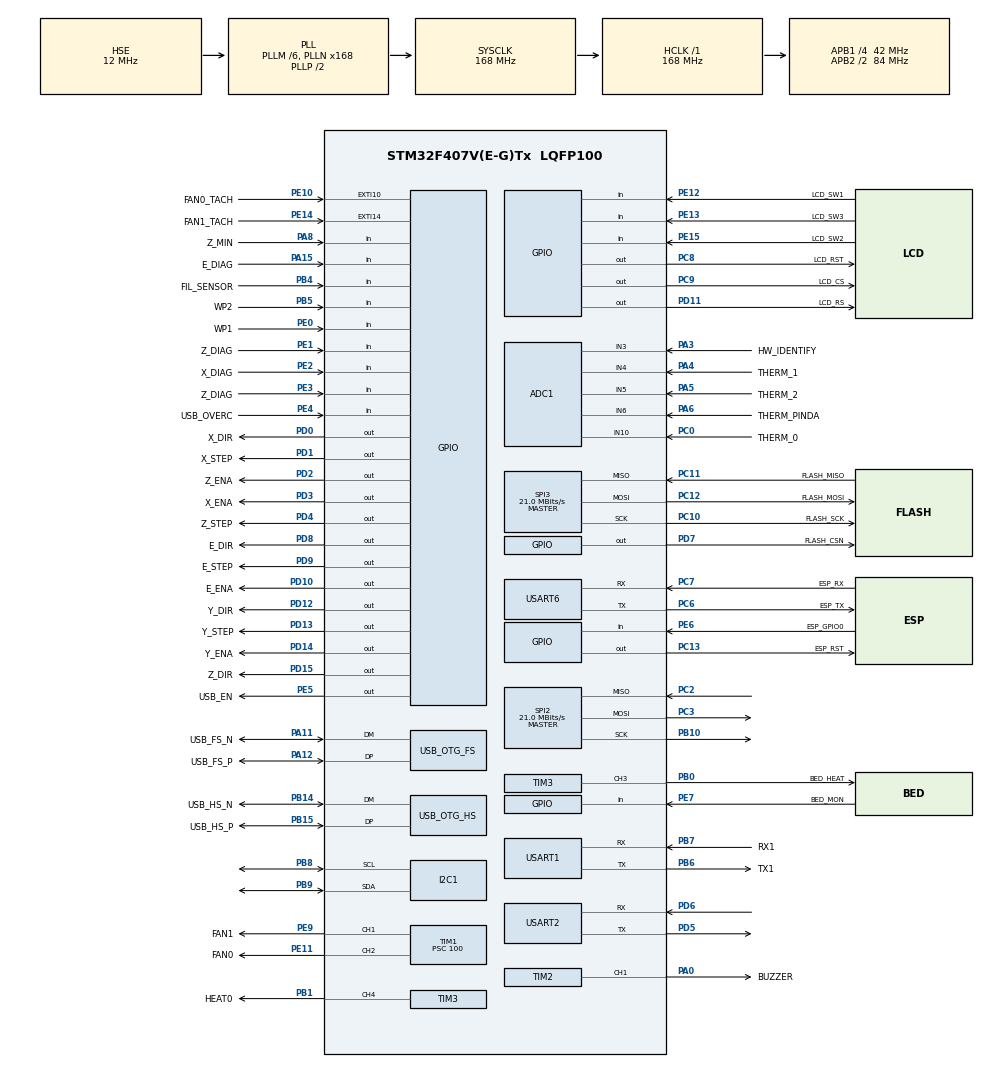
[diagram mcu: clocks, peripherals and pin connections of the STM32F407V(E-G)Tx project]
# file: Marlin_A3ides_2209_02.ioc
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ADC1.Channel-0\#ChannelRegularConversion=ADC_CHANNEL_4
ADC1.NbrOfConversionFlag=1
ADC1.Rank-0\#ChannelRegularConversion=1
ADC1.SamplingTime-0\#ChannelRegularConversion=ADC_SAMPLETIME_3CYCLES
ADC1.master=1
Dma.Request0=SPI2_TX
Dma.Request1=USART2_RX
Dma.Request2=USART6_RX
Dma.SPI2_TX.0.Direction=DMA_MEMORY_TO_PERIPH
Dma.SPI2_TX.0.FIFOMode=DMA_FIFOMODE_DISABLE
Dma.SPI2_TX.0.Instance=DMA1_Stream4
Dma.SPI2_TX.0.MemDataAlignment=DMA_MDATAALIGN_BYTE
Dma.SPI2_TX.0.MemInc=DMA_MINC_ENABLE
Dma.SPI2_TX.0.Mode=DMA_NORMAL
Dma.SPI2_TX.0.PeriphDataAlignment=DMA_PDATAALIGN_BYTE
Dma.SPI2_TX.0.PeriphInc=DMA_PINC_DISABLE
Dma.SPI2_TX.0.Priority=DMA_PRIORITY_MEDIUM
Dma.USART2_RX.1.Direction=DMA_PERIPH_TO_MEMORY
Dma.USART2_RX.1.FIFOMode=DMA_FIFOMODE_DISABLE
Dma.USART2_RX.1.Instance=DMA1_Stream5
Dma.USART2_RX.1.MemDataAlignment=DMA_MDATAALIGN_BYTE
Dma.USART2_RX.1.MemInc=DMA_MINC_ENABLE
Dma.USART2_RX.1.Mode=DMA_NORMAL
Dma.USART2_RX.1.PeriphDataAlignment=DMA_PDATAALIGN_BYTE
Dma.USART2_RX.1.PeriphInc=DMA_PINC_DISABLE
Dma.USART2_RX.1.Priority=DMA_PRIORITY_LOW
Dma.USART6_RX.2.Direction=DMA_PERIPH_TO_MEMORY
Dma.USART6_RX.2.FIFOMode=DMA_FIFOMODE_DISABLE
Dma.USART6_RX.2.Instance=DMA2_Stream1
Dma.USART6_RX.2.MemDataAlignment=DMA_MDATAALIGN_BYTE
Dma.USART6_RX.2.MemInc=DMA_MINC_ENABLE
Dma.USART6_RX.2.Mode=DMA_CIRCULAR
Dma.USART6_RX.2.PeriphDataAlignment=DMA_PDATAALIGN_BYTE
Dma.USART6_RX.2.PeriphInc=DMA_PINC_DISABLE
Dma.USART6_RX.2.Priority=DMA_PRIORITY_LOW
FREERTOS.Tasks01=defaultTask,0,1024,StartDefaultTask,Default,NULL,Dynamic,NULL,NULL;displayTask,0,1024,StartDisplayTask,Default,NULL,Dynamic,NULL,NULL;idleTask,-3,128,StartIdleTask,Default,NULL,Dynamic,NULL,NULL
FREERTOS.configTOTAL_HEAP_SIZE=49152
Mcu.Family=STM32F4
Mcu.Name=STM32F407V(E-G)Tx
Mcu.Package=LQFP100
NVIC.DMA1_Stream4_IRQn=true\:5\:0\:false\:false\:true\:true\:false
NVIC.DMA1_Stream5_IRQn=true\:5\:0\:false\:false\:true\:true\:false
NVIC.DMA2_Stream1_IRQn=true\:5\:0\:false\:false\:true\:true\:false
NVIC.EXTI15_10_IRQn=true\:5\:0\:false\:false\:true\:true\:true
NVIC.OTG_FS_IRQn=true\:5\:0\:false\:false\:true\:true\:false
NVIC.OTG_HS_IRQn=true\:5\:0\:false\:false\:true\:true\:false
NVIC.PriorityGroup=NVIC_PRIORITYGROUP_4
NVIC.TIM6_DAC_IRQn=true\:0\:0\:false\:false\:true\:false\:false
NVIC.TIM8_TRG_COM_TIM14_IRQn=true\:5\:0\:false\:false\:true\:true\:true
NVIC.TimeBase=TIM6_DAC_IRQn
NVIC.TimeBaseIP=TIM6
PA0-WKUP.GPIO_Label=BUZZER
PA0-WKUP.Signal=S_TIM2_CH1_ETR
PA11.GPIO_Label=USB_FS_N
PA11.Mode=Device_Only
PA11.Signal=USB_OTG_FS_DM
PA12.GPIO_Label=USB_FS_P
PA12.Mode=Device_Only
PA12.Signal=USB_OTG_FS_DP
PA13.GPIO_Label=SWDIO
PA13.Mode=Trace_Asynchronous_SW
PA13.Signal=SYS_JTMS-SWDIO
PA14.GPIO_Label=SWCLK
PA14.Mode=Trace_Asynchronous_SW
PA14.Signal=SYS_JTCK-SWCLK
PA15.GPIO_Label=E_DIAG
PA15.Signal=GPIO_Input
PA3.GPIO_Label=HW_IDENTIFY
PA3.Signal=ADCx_IN3
PA4.GPIO_Label=THERM_1
PA4.Signal=ADCx_IN4
PA5.GPIO_Label=THERM_2
PA5.Signal=ADCx_IN5
PA6.GPIO_Label=THERM_PINDA
PA6.Signal=ADCx_IN6
PA8.GPIO_Label=Z_MIN
PA8.GPIO_PuPd=GPIO_PULLUP
PA8.Signal=GPIO_Input
PB0.GPIO_Label=BED_HEAT
PB0.Signal=S_TIM3_CH3
PB1.GPIO_Label=HEAT0
PB1.Signal=S_TIM3_CH4
PB10.Mode=Full_Duplex_Master
PB10.Signal=SPI2_SCK
PB14.GPIO_Label=USB_HS_N
PB14.Mode=Host_FS
PB14.Signal=USB_OTG_HS_DM
PB15.GPIO_Label=USB_HS_P
PB15.Mode=Host_FS
PB15.Signal=USB_OTG_HS_DP
PB3.Mode=Trace_Asynchronous_SW
PB3.Signal=SYS_JTDO-SWO
PB4.GPIO_Label=FIL_SENSOR
PB4.Signal=GPIO_Input
PB5.GPIO_Label=WP2
PB5.Signal=GPIO_Input
PB6.GPIO_Label=TX1
PB6.Mode=Asynchronous
PB6.Signal=USART1_TX
PB7.GPIO_Label=RX1
PB7.Mode=Asynchronous
PB7.Signal=USART1_RX
PB8.Mode=I2C
PB8.Signal=I2C1_SCL
PB9.Mode=I2C
PB9.Signal=I2C1_SDA
PC0.GPIO_Label=THERM_0
PC0.Signal=ADCx_IN10
PC10.GPIO_Label=FLASH_SCK
PC10.Mode=Full_Duplex_Master
PC10.Signal=SPI3_SCK
PC11.GPIO_Label=FLASH_MISO
PC11.Mode=Full_Duplex_Master
PC11.Signal=SPI3_MISO
PC12.GPIO_Label=FLASH_MOSI
PC12.Mode=Full_Duplex_Master
PC12.Signal=SPI3_MOSI
PC13-ANTI_TAMP.GPIO_Label=ESP_RST
PC13-ANTI_TAMP.Signal=GPIO_Output
PC14-OSC32_IN.Mode=LSE-External-Oscillator
PC14-OSC32_IN.Signal=RCC_OSC32_IN
PC15-OSC32_OUT.Mode=LSE-External-Oscillator
PC15-OSC32_OUT.Signal=RCC_OSC32_OUT
PC2.Mode=Full_Duplex_Master
PC2.Signal=SPI2_MISO
PC3.Mode=Full_Duplex_Master
PC3.Signal=SPI2_MOSI
PC6.GPIO_Label=ESP_TX
PC6.Mode=Asynchronous
PC6.Signal=USART6_TX
PC7.GPIO_Label=ESP_RX
PC7.Mode=Asynchronous
PC7.Signal=USART6_RX
PC8.GPIO_Label=LCD_RST
PC8.Signal=GPIO_Output
PC9.GPIO_Label=LCD_CS
PC9.Signal=GPIO_Output
PD0.GPIO_Label=X_DIR
PD0.Signal=GPIO_Output
PD1.GPIO_Label=X_STEP
PD1.Signal=GPIO_Output
PD10.GPIO_Label=E_ENA
PD10.Signal=GPIO_Output
PD11.GPIO_Label=LCD_RS
PD11.Signal=GPIO_Output
PD12.GPIO_Label=Y_DIR
PD12.Signal=GPIO_Output
PD13.GPIO_Label=Y_STEP
PD13.Signal=GPIO_Output
PD14.GPIO_Label=Y_ENA
PD14.Signal=GPIO_Output
PD15.GPIO_Label=Z_DIR
PD15.Signal=GPIO_Output
PD2.GPIO_Label=Z_ENA
PD2.Signal=GPIO_Output
PD3.GPIO_Label=X_ENA
PD3.Signal=GPIO_Output
PD4.GPIO_Label=Z_STEP
PD4.Signal=GPIO_Output
PD5.Mode=Asynchronous
PD5.Signal=USART2_TX
PD6.Mode=Asynchronous
PD6.Signal=USART2_RX
PD7.GPIO_Label=FLASH_CSN
PD7.Signal=GPIO_Output
PD8.GPIO_Label=E_DIR
PD8.Signal=GPIO_Output
PD9.GPIO_Label=E_STEP
PD9.Signal=GPIO_Output
PE0.GPIO_Label=WP1
PE0.Signal=GPIO_Input
PE1.GPIO_Label=Z_DIAG
PE1.Signal=GPIO_Input
PE10.GPIO_Label=FAN0_TACH
PE10.Signal=GPXTI10
PE11.GPIO_Label=FAN0
PE11.Signal=S_TIM1_CH2
PE12.GPIO_Label=LCD_SW1
PE12.GPIO_PuPd=GPIO_PULLUP
PE12.Signal=GPIO_Input
PE13.GPIO_Label=LCD_SW3
PE13.GPIO_PuPd=GPIO_PULLUP
PE13.Signal=GPIO_Input
PE14.GPIO_Label=FAN1_TACH
PE14.Signal=GPXTI14
PE15.GPIO_Label=LCD_SW2
PE15.GPIO_PuPd=GPIO_PULLUP
PE15.Signal=GPIO_Input
PE2.GPIO_Label=X_DIAG
PE2.Signal=GPIO_Input
PE3.GPIO_Label=Z_DIAG
PE3.Signal=GPIO_Input
PE4.GPIO_Label=USB_OVERC
PE4.Signal=GPIO_Input
PE5.GPIO_Label=USB_EN
PE5.PinState=GPIO_PIN_RESET
PE5.Signal=GPIO_Output
PE6.GPIO_Label=ESP_GPIO0
PE6.Signal=GPIO_Input
PE7.GPIO_Label=BED_MON
PE7.Signal=GPIO_Input
PE9.GPIO_Label=FAN1
PE9.Signal=S_TIM1_CH1
PH0-OSC_IN.Mode=HSE-External-Oscillator
PH0-OSC_IN.Signal=RCC_OSC_IN
PH1-OSC_OUT.Mode=HSE-External-Oscillator
PH1-OSC_OUT.Signal=RCC_OSC_OUT
ProjectManager.HeapSize=0x800
ProjectManager.StackSize=0x800
ProjectManager.TargetToolchain=TrueSTUDIO
RCC.48MHZClocksFreq_Value=48000000
RCC.AHBFreq_Value=168000000
RCC.APB1CLKDivider=RCC_HCLK_DIV4
RCC.APB1Freq_Value=42000000
RCC.APB1TimFreq_Value=84000000
RCC.APB2CLKDivider=RCC_HCLK_DIV2
RCC.APB2Freq_Value=84000000
RCC.APB2TimFreq_Value=168000000
RCC.CortexFreq_Value=168000000
RCC.HCLKFreq_Value=168000000
RCC.HSE_VALUE=12000000
RCC.HSI_VALUE=16000000
RCC.PLLM=6
RCC.PLLN=168
RCC.PLLQ=7
RCC.SYSCLKFreq_VALUE=168000000
RCC.SYSCLKSource=RCC_SYSCLKSOURCE_PLLCLK
RCC.VCOOutputFreq_Value=336000000
SH.ADCx_IN10.0=ADC1_IN10,IN10
SH.ADCx_IN3.0=ADC1_IN3,IN3
SH.ADCx_IN4.0=ADC1_IN4,IN4
SH.ADCx_IN5.0=ADC1_IN5,IN5
SH.ADCx_IN6.0=ADC1_IN6,IN6
SH.S_TIM1_CH1.0=TIM1_CH1,PWM Generation1 CH1
SH.S_TIM1_CH2.0=TIM1_CH2,PWM Generation2 CH2
SH.S_TIM2_CH1_ETR.0=TIM2_CH1,PWM Generation1 CH1
SH.S_TIM3_CH3.0=TIM3_CH3,PWM Generation3 CH3
SH.S_TIM3_CH4.0=TIM3_CH4,PWM Generation4 CH4
SPI2.CalculateBaudRate=21.0 MBits/s
SPI2.Direction=SPI_DIRECTION_2LINES
SPI2.Mode=SPI_MODE_MASTER
SPI2.VirtualType=VM_MASTER
SPI3.CalculateBaudRate=21.0 MBits/s
SPI3.Direction=SPI_DIRECTION_2LINES
SPI3.Mode=SPI_MODE_MASTER
SPI3.VirtualType=VM_MASTER
TIM1.Channel-PWM\ Generation1\ CH1=TIM_CHANNEL_1
TIM1.Channel-PWM\ Generation2\ CH2=TIM_CHANNEL_2
TIM1.CounterMode=TIM_COUNTERMODE_DOWN
TIM1.Period=42000
TIM1.Prescaler=100
TIM1.Pulse-PWM\ Generation1\ CH1=0
TIM1.Pulse-PWM\ Generation2\ CH2=0
TIM14.Period=1000
TIM14.Prescaler=84
TIM2.Channel-PWM\ Generation1\ CH1=TIM_CHANNEL_1
TIM2.CounterMode=TIM_COUNTERMODE_DOWN
TIM2.Period=42000
TIM2.Prescaler=100
TIM2.Pulse-PWM\ Generation1\ CH1=21000
TIM3.Channel-PWM\ Generation3\ CH3=TIM_CHANNEL_3
TIM3.Channel-PWM\ Generation4\ CH4=TIM_CHANNEL_4
TIM3.CounterMode=TIM_COUNTERMODE_DOWN
TIM3.Period=42000
TIM3.Prescaler=100
TIM3.Pulse-PWM\ Generation3\ CH3=21000
TIM3.Pulse-PWM\ Generation4\ CH4=21000
USART1.VirtualMode=VM_ASYNC
USART2.VirtualMode=VM_ASYNC
USART6.VirtualMode=VM_ASYNC
USB_DEVICE.CLASS_NAME_FS=CDC
USB_DEVICE.VirtualMode-CDC_FS=Cdc
USB_DEVICE.VirtualModeFS=Cdc_FS
USB_HOST.USBH_HandleTypeDef-MSC_HS=hUsbHostHS
USB_HOST.VirtualModeHS=Msc
USB_OTG_FS.VirtualMode=Device_Only
USB_OTG_HS.VirtualMode-Host_FS=Host_FS
VP_FATFS_VS_USB.Mode=USB
VP_FREERTOS_VS_ENABLE.Mode=Enabled
VP_IWDG_VS_IWDG.Mode=IWDG_Activate
VP_SYS_VS_tim6.Mode=TIM6
VP_TIM14_VS_ClockSourceINT.Mode=Enable_Timer
VP_TIM1_VS_ClockSourceINT.Mode=Internal
VP_TIM2_VS_ClockSourceINT.Mode=Internal
VP_TIM3_VS_ClockSourceINT.Mode=Internal
VP_USB_DEVICE_VS_USB_DEVICE_CDC_FS.Mode=CDC_FS
VP_USB_HOST_VS_USB_HOST_MSC_HS.Mode=MSC_HS
board=custom

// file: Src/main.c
/* USER CODE BEGIN Header */
/**
  ******************************************************************************
  * @file           : main.c
  * @brief          : Main program body
  ******************************************************************************
  ** This notice applies to any and all portions of this file
  * that are not between comment pairs USER CODE BEGIN and
  * USER CODE END. Other portions of this file, whether
  * inserted by the user or by software development tools
  * are owned by their respective copyright owners.
  *
  * COPYRIGHT(c) 2019 STMicroelectronics
  *
  * Redistribution and use in source and binary forms, with or without modification,
  * are permitted provided that the following conditions are met:
  *   1. Redistributions of source code must retain the above copyright notice,
  *      this list of conditions and the following disclaimer.
  *   2. Redistributions in binary form must reproduce the above copyright notice,
  *      this list of conditions and the following disclaimer in the documentation
  *      and/or other materials provided with the distribution.
  *   3. Neither the name of STMicroelectronics nor the names of its contributors
  *      may be used to endorse or promote products derived from this software
  *      without specific prior written permission.
  *
  * THIS SOFTWARE IS PROVIDED BY THE COPYRIGHT HOLDERS AND CONTRIBUTORS "AS IS"
  * AND ANY EXPRESS OR IMPLIED WARRANTIES, INCLUDING, BUT NOT LIMITED TO, THE
  * IMPLIED WARRANTIES OF MERCHANTABILITY AND FITNESS FOR A PARTICULAR PURPOSE ARE
  * DISCLAIMED. IN NO EVENT SHALL THE COPYRIGHT HOLDER OR CONTRIBUTORS BE LIABLE
  * FOR ANY DIRECT, INDIRECT, INCIDENTAL, SPECIAL, EXEMPLARY, OR CONSEQUENTIAL
  * DAMAGES (INCLUDING, BUT NOT LIMITED TO, PROCUREMENT OF SUBSTITUTE GOODS OR
  * SERVICES; LOSS OF USE, DATA, OR PROFITS; OR BUSINESS INTERRUPTION) HOWEVER
  * CAUSED AND ON ANY THEORY OF LIABILITY, WHETHER IN CONTRACT, STRICT LIABILITY,
  * OR TORT (INCLUDING NEGLIGENCE OR OTHERWISE) ARISING IN ANY WAY OUT OF THE USE
  * OF THIS SOFTWARE, EVEN IF ADVISED OF THE POSSIBILITY OF SUCH DAMAGE.
  *
  ******************************************************************************
  */
/* USER CODE END Header */

#include "main.h"
#include "cmsis_os.h"
#include "fatfs.h"
#include "usb_device.h"
#include "usb_host.h"

/* USER CODE BEGIN Includes */
#include "app.h"
#include "dbg.h"
#include "timer_defaults.h"

/* USER CODE END Includes */

ADC_HandleTypeDef hadc1;

I2C_HandleTypeDef hi2c1;

IWDG_HandleTypeDef hiwdg;

SPI_HandleTypeDef hspi2;
SPI_HandleTypeDef hspi3;
DMA_HandleTypeDef hdma_spi2_tx;

TIM_HandleTypeDef htim1;
TIM_HandleTypeDef htim2;
TIM_HandleTypeDef htim3;
TIM_HandleTypeDef htim14;

UART_HandleTypeDef huart1;
UART_HandleTypeDef huart2;
UART_HandleTypeDef huart6;
DMA_HandleTypeDef hdma_usart2_rx;
DMA_HandleTypeDef hdma_usart6_rx;

osThreadId defaultTaskHandle;
osThreadId displayTaskHandle;
osThreadId idleTaskHandle;
/* USER CODE BEGIN PV */
int HAL_IWDG_Reset = 0;
int HAL_GPIO_Initialized = 0;
int HAL_ADC_Initialized = 0;
int HAL_PWM_Initialized = 0;
int HAL_SPI_Initialized = 0;
/* USER CODE END PV */

void SystemClock_Config(void);
static void MX_GPIO_Init(void);
static void MX_DMA_Init(void);
static void MX_I2C1_Init(void);
static void MX_IWDG_Init(void);
static void MX_ADC1_Init(void);
static void MX_USART1_UART_Init(void);
static void MX_TIM1_Init(void);
static void MX_TIM3_Init(void);
static void MX_SPI2_Init(void);
static void MX_USART2_UART_Init(void);
static void MX_USART6_UART_Init(void);
static void MX_SPI3_Init(void);
static void MX_TIM2_Init(void);
static void MX_TIM14_Init(void);
void StartDefaultTask(void const* argument);
void StartDisplayTask(void const* argument);
void StartIdleTask(void const* argument);

/* USER CODE BEGIN PFP */

extern void app_run(void);
extern void app_error(void);
extern void app_assert(uint8_t* file, uint32_t line);

extern void gui_run(void);

extern void Error_Handler(void);

/* USER CODE END PFP */

/* USER CODE BEGIN 0 */
#include "uartslave.h"
#include "putslave.h"
uartrxbuff_t uart6rxbuff;
uint8_t uart6rx_data[32];
uartslave_t uart6slave;
char uart6slave_line[32];

uint32_t Tacho_FAN0;
uint32_t Tacho_FAN1;

/* USER CODE END 0 */

int main(void)
{
    /* USER CODE BEGIN 1 */

    /*
#define RCC_FLAG_LSIRDY                  ((uint8_t)0x61)
#define RCC_FLAG_BORRST                  ((uint8_t)0x79)
#define RCC_FLAG_PINRST                  ((uint8_t)0x7A)
#define RCC_FLAG_PORRST                  ((uint8_t)0x7B)
#define RCC_FLAG_SFTRST                  ((uint8_t)0x7C)
#define RCC_FLAG_IWDGRST                 ((uint8_t)0x7D)
#define RCC_FLAG_WWDGRST                 ((uint8_t)0x7E)
#define RCC_FLAG_LPWRRST                 ((uint8_t)0x7F)
*/

    //__HAL_RCC_GET_FLAG(RCC_FLAG_LPWRRST);
    //__HAL_RCC_GET_FLAG(RCC_FLAG_WWDGRST);
    if (__HAL_RCC_GET_FLAG(RCC_FLAG_IWDGRST))
        HAL_IWDG_Reset = 1;
    //__HAL_RCC_GET_FLAG(RCC_FLAG_SFTRST);
    //__HAL_RCC_GET_FLAG(RCC_FLAG_PORRST);
    //__HAL_RCC_GET_FLAG(RCC_FLAG_PINRST);
    //__HAL_RCC_GET_FLAG(RCC_FLAG_BORRST);
    __HAL_RCC_CLEAR_RESET_FLAGS();
    /* USER CODE END 1 */

    /* MCU Configuration--------------------------------------------------------*/

    /* Reset of all peripherals, Initializes the Flash interface and the Systick. */
    HAL_Init();

    /* Configure the system clock */
    SystemClock_Config();

    /* Initialize all configured peripherals */
    MX_GPIO_Init();
    MX_DMA_Init();
    MX_I2C1_Init();
    MX_IWDG_Init();
    MX_ADC1_Init();
    MX_USART1_UART_Init();
    MX_TIM1_Init();
    MX_TIM3_Init();
    MX_SPI2_Init();
    MX_USART2_UART_Init();
    MX_USART6_UART_Init();
    MX_SPI3_Init();
    MX_TIM2_Init();
    MX_TIM14_Init();
    /* USER CODE BEGIN 2 */
    HAL_GPIO_Initialized = 1;
    HAL_ADC_Initialized = 1;
    HAL_PWM_Initialized = 1;
    HAL_SPI_Initialized = 1;

    uartrxbuff_init(&uart6rxbuff, &huart6, &hdma_usart6_rx, sizeof(uart6rx_data), uart6rx_data);
    uartrxbuff_open(&uart6rxbuff);
    uartslave_init(&uart6slave, &uart6rxbuff, sizeof(uart6slave_line), uart6slave_line);
    putslave_init(&uart6slave);
    /* USER CODE END 2 */

    /* Create the thread(s) */
    /* definition and creation of defaultTask */
    osThreadDef(defaultTask, StartDefaultTask, osPriorityNormal, 0, 1024);
    defaultTaskHandle = osThreadCreate(osThread(defaultTask), NULL);

    /* definition and creation of displayTask */
    osThreadDef(displayTask, StartDisplayTask, osPriorityNormal, 0, 1024);
    displayTaskHandle = osThreadCreate(osThread(displayTask), NULL);

    /* definition and creation of idleTask */
    osThreadDef(idleTask, StartIdleTask, osPriorityIdle, 0, 128);
    idleTaskHandle = osThreadCreate(osThread(idleTask), NULL);

    /* Start scheduler */
    osKernelStart();

    /* We should never get here as control is now taken by the scheduler */

    /* Infinite loop */
    while (1) {

    }
}

void SystemClock_Config(void)
{
    RCC_OscInitTypeDef RCC_OscInitStruct = { 0 };
    RCC_ClkInitTypeDef RCC_ClkInitStruct = { 0 };

    /**Configure the main internal regulator output voltage
  */
    __HAL_RCC_PWR_CLK_ENABLE();
    __HAL_PWR_VOLTAGESCALING_CONFIG(PWR_REGULATOR_VOLTAGE_SCALE1);
    /**Initializes the CPU, AHB and APB busses clocks
  */
    RCC_OscInitStruct.OscillatorType = RCC_OSCILLATORTYPE_LSI | RCC_OSCILLATORTYPE_HSE;
    RCC_OscInitStruct.HSEState = RCC_HSE_ON;
    RCC_OscInitStruct.LSIState = RCC_LSI_ON;
    RCC_OscInitStruct.PLL.PLLState = RCC_PLL_ON;
    RCC_OscInitStruct.PLL.PLLSource = RCC_PLLSOURCE_HSE;
    RCC_OscInitStruct.PLL.PLLM = 6;
    RCC_OscInitStruct.PLL.PLLN = 168;
    RCC_OscInitStruct.PLL.PLLP = RCC_PLLP_DIV2;
    RCC_OscInitStruct.PLL.PLLQ = 7;
    if (HAL_RCC_OscConfig(&RCC_OscInitStruct) != HAL_OK) {
        Error_Handler();
    }
    /**Initializes the CPU, AHB and APB busses clocks
  */
    RCC_ClkInitStruct.ClockType = RCC_CLOCKTYPE_HCLK | RCC_CLOCKTYPE_SYSCLK
        | RCC_CLOCKTYPE_PCLK1 | RCC_CLOCKTYPE_PCLK2;
    RCC_ClkInitStruct.SYSCLKSource = RCC_SYSCLKSOURCE_PLLCLK;
    RCC_ClkInitStruct.AHBCLKDivider = RCC_SYSCLK_DIV1;
    RCC_ClkInitStruct.APB1CLKDivider = RCC_HCLK_DIV4;
    RCC_ClkInitStruct.APB2CLKDivider = RCC_HCLK_DIV2;

    if (HAL_RCC_ClockConfig(&RCC_ClkInitStruct, FLASH_LATENCY_5) != HAL_OK) {
        Error_Handler();
    }
}

static void MX_ADC1_Init(void)
{

    ADC_ChannelConfTypeDef sConfig = { 0 };

    /**Configure the global features of the ADC (Clock, Resolution, Data Alignment and number of conversion)
  */
    hadc1.Instance = ADC1;
    hadc1.Init.ClockPrescaler = ADC_CLOCK_SYNC_PCLK_DIV4;
    hadc1.Init.Resolution = ADC_RESOLUTION_12B;
    hadc1.Init.ScanConvMode = DISABLE;
    hadc1.Init.ContinuousConvMode = DISABLE;
    hadc1.Init.DiscontinuousConvMode = DISABLE;
    hadc1.Init.ExternalTrigConvEdge = ADC_EXTERNALTRIGCONVEDGE_NONE;
    hadc1.Init.ExternalTrigConv = ADC_SOFTWARE_START;
    hadc1.Init.DataAlign = ADC_DATAALIGN_RIGHT;
    hadc1.Init.NbrOfConversion = 1;
    hadc1.Init.DMAContinuousRequests = DISABLE;
    hadc1.Init.EOCSelection = ADC_EOC_SINGLE_CONV;
    if (HAL_ADC_Init(&hadc1) != HAL_OK) {
        Error_Handler();
    }
    /**Configure for the selected ADC regular channel its corresponding rank in the sequencer and its sample time.
  */
    sConfig.Channel = ADC_CHANNEL_4;
    sConfig.Rank = 1;
    sConfig.SamplingTime = ADC_SAMPLETIME_3CYCLES;
    if (HAL_ADC_ConfigChannel(&hadc1, &sConfig) != HAL_OK) {
        Error_Handler();
    }
}

static void MX_I2C1_Init(void)
{

    hi2c1.Instance = I2C1;
    hi2c1.Init.ClockSpeed = 100000;
    hi2c1.Init.DutyCycle = I2C_DUTYCYCLE_2;
    hi2c1.Init.OwnAddress1 = 0;
    hi2c1.Init.AddressingMode = I2C_ADDRESSINGMODE_7BIT;
    hi2c1.Init.DualAddressMode = I2C_DUALADDRESS_DISABLE;
    hi2c1.Init.OwnAddress2 = 0;
    hi2c1.Init.GeneralCallMode = I2C_GENERALCALL_DISABLE;
    hi2c1.Init.NoStretchMode = I2C_NOSTRETCH_DISABLE;
    if (HAL_I2C_Init(&hi2c1) != HAL_OK) {
        Error_Handler();
    }
}

static void MX_IWDG_Init(void)
{

    /* USER CODE BEGIN IWDG_Init 1 */
    //Watchdog is enable in marlin init
#if 0
  /* USER CODE END IWDG_Init 1 */
  hiwdg.Instance = IWDG;
  hiwdg.Init.Prescaler = IWDG_PRESCALER_4;
  hiwdg.Init.Reload = 4095;
  if (HAL_IWDG_Init(&hiwdg) != HAL_OK)
  {
    Error_Handler();
  }
  /* USER CODE BEGIN IWDG_Init 2 */
#endif
    /* USER CODE END IWDG_Init 2 */
}

static void MX_SPI2_Init(void)
{

    /* SPI2 parameter configuration*/
    hspi2.Instance = SPI2;
    hspi2.Init.Mode = SPI_MODE_MASTER;
    hspi2.Init.Direction = SPI_DIRECTION_2LINES;
    hspi2.Init.DataSize = SPI_DATASIZE_8BIT;
    hspi2.Init.CLKPolarity = SPI_POLARITY_LOW;
    hspi2.Init.CLKPhase = SPI_PHASE_1EDGE;
    hspi2.Init.NSS = SPI_NSS_SOFT;
    hspi2.Init.BaudRatePrescaler = SPI_BAUDRATEPRESCALER_2;
    hspi2.Init.FirstBit = SPI_FIRSTBIT_MSB;
    hspi2.Init.TIMode = SPI_TIMODE_DISABLE;
    hspi2.Init.CRCCalculation = SPI_CRCCALCULATION_DISABLE;
    hspi2.Init.CRCPolynomial = 10;
    if (HAL_SPI_Init(&hspi2) != HAL_OK) {
        Error_Handler();
    }
}

static void MX_SPI3_Init(void)
{

    /* SPI3 parameter configuration*/
    hspi3.Instance = SPI3;
    hspi3.Init.Mode = SPI_MODE_MASTER;
    hspi3.Init.Direction = SPI_DIRECTION_2LINES;
    hspi3.Init.DataSize = SPI_DATASIZE_8BIT;
    hspi3.Init.CLKPolarity = SPI_POLARITY_LOW;
    hspi3.Init.CLKPhase = SPI_PHASE_1EDGE;
    hspi3.Init.NSS = SPI_NSS_SOFT;
    hspi3.Init.BaudRatePrescaler = SPI_BAUDRATEPRESCALER_2;
    hspi3.Init.FirstBit = SPI_FIRSTBIT_MSB;
    hspi3.Init.TIMode = SPI_TIMODE_DISABLE;
    hspi3.Init.CRCCalculation = SPI_CRCCALCULATION_DISABLE;
    hspi3.Init.CRCPolynomial = 10;
    if (HAL_SPI_Init(&hspi3) != HAL_OK) {
        Error_Handler();
    }
}

static void MX_TIM1_Init(void)
{

    TIM_ClockConfigTypeDef sClockSourceConfig = { 0 };
    TIM_MasterConfigTypeDef sMasterConfig = { 0 };
    TIM_OC_InitTypeDef sConfigOC = { 0 };
    TIM_BreakDeadTimeConfigTypeDef sBreakDeadTimeConfig = { 0 };

    htim1.Instance = TIM1;
    htim1.Init.Prescaler = TIM1_default_Prescaler;
    htim1.Init.CounterMode = TIM_COUNTERMODE_DOWN;
    htim1.Init.Period = TIM1_default_Period;
    htim1.Init.ClockDivision = TIM_CLOCKDIVISION_DIV1;
    htim1.Init.RepetitionCounter = 0;
    if (HAL_TIM_Base_Init(&htim1) != HAL_OK) {
        Error_Handler();
    }
    sClockSourceConfig.ClockSource = TIM_CLOCKSOURCE_INTERNAL;
    if (HAL_TIM_ConfigClockSource(&htim1, &sClockSourceConfig) != HAL_OK) {
        Error_Handler();
    }
    if (HAL_TIM_PWM_Init(&htim1) != HAL_OK) {
        Error_Handler();
    }
    sMasterConfig.MasterOutputTrigger = TIM_TRGO_RESET;
    sMasterConfig.MasterSlaveMode = TIM_MASTERSLAVEMODE_DISABLE;
    if (HAL_TIMEx_MasterConfigSynchronization(&htim1, &sMasterConfig) != HAL_OK) {
        Error_Handler();
    }
    sConfigOC.OCMode = TIM_OCMODE_PWM1;
    sConfigOC.Pulse = 0;
    sConfigOC.OCPolarity = TIM_OCPOLARITY_HIGH;
    sConfigOC.OCNPolarity = TIM_OCNPOLARITY_HIGH;
    sConfigOC.OCFastMode = TIM_OCFAST_DISABLE;
    sConfigOC.OCIdleState = TIM_OCIDLESTATE_RESET;
    sConfigOC.OCNIdleState = TIM_OCNIDLESTATE_RESET;
    if (HAL_TIM_PWM_ConfigChannel(&htim1, &sConfigOC, TIM_CHANNEL_1) != HAL_OK) {
        Error_Handler();
    }
    if (HAL_TIM_PWM_ConfigChannel(&htim1, &sConfigOC, TIM_CHANNEL_2) != HAL_OK) {
        Error_Handler();
    }
    sBreakDeadTimeConfig.OffStateRunMode = TIM_OSSR_DISABLE;
    sBreakDeadTimeConfig.OffStateIDLEMode = TIM_OSSI_DISABLE;
    sBreakDeadTimeConfig.LockLevel = TIM_LOCKLEVEL_OFF;
    sBreakDeadTimeConfig.DeadTime = 0;
    sBreakDeadTimeConfig.BreakState = TIM_BREAK_DISABLE;
    sBreakDeadTimeConfig.BreakPolarity = TIM_BREAKPOLARITY_HIGH;
    sBreakDeadTimeConfig.AutomaticOutput = TIM_AUTOMATICOUTPUT_DISABLE;
    if (HAL_TIMEx_ConfigBreakDeadTime(&htim1, &sBreakDeadTimeConfig) != HAL_OK) {
        Error_Handler();
    }
    /* USER CODE BEGIN TIM1_Init 2 */
    //HAL_TIM_PWM_Start(&htim1,TIM_CHANNEL_1);
    //HAL_TIM_PWM_Start(&htim1,TIM_CHANNEL_2);
    /* USER CODE END TIM1_Init 2 */
    HAL_TIM_MspPostInit(&htim1);
}

static void MX_TIM2_Init(void)
{

    TIM_ClockConfigTypeDef sClockSourceConfig = { 0 };
    TIM_MasterConfigTypeDef sMasterConfig = { 0 };
    TIM_OC_InitTypeDef sConfigOC = { 0 };

    htim2.Instance = TIM2;
    htim2.Init.Prescaler = 100;
    htim2.Init.CounterMode = TIM_COUNTERMODE_DOWN;
    htim2.Init.Period = 42000;
    htim2.Init.ClockDivision = TIM_CLOCKDIVISION_DIV1;
    if (HAL_TIM_Base_Init(&htim2) != HAL_OK) {
        Error_Handler();
    }
    sClockSourceConfig.ClockSource = TIM_CLOCKSOURCE_INTERNAL;
    if (HAL_TIM_ConfigClockSource(&htim2, &sClockSourceConfig) != HAL_OK) {
        Error_Handler();
    }
    if (HAL_TIM_PWM_Init(&htim2) != HAL_OK) {
        Error_Handler();
    }
    sMasterConfig.MasterOutputTrigger = TIM_TRGO_RESET;
    sMasterConfig.MasterSlaveMode = TIM_MASTERSLAVEMODE_DISABLE;
    if (HAL_TIMEx_MasterConfigSynchronization(&htim2, &sMasterConfig) != HAL_OK) {
        Error_Handler();
    }
    sConfigOC.OCMode = TIM_OCMODE_PWM1;
    sConfigOC.Pulse = 21000;
    sConfigOC.OCPolarity = TIM_OCPOLARITY_HIGH;
    sConfigOC.OCFastMode = TIM_OCFAST_DISABLE;
    if (HAL_TIM_PWM_ConfigChannel(&htim2, &sConfigOC, TIM_CHANNEL_1) != HAL_OK) {
        Error_Handler();
    }
    HAL_TIM_MspPostInit(&htim2);
}

static void MX_TIM3_Init(void)
{

    TIM_ClockConfigTypeDef sClockSourceConfig = { 0 };
    TIM_MasterConfigTypeDef sMasterConfig = { 0 };
    TIM_OC_InitTypeDef sConfigOC = { 0 };

    htim3.Instance = TIM3;
    htim3.Init.Prescaler = TIM3_default_Prescaler;
    htim3.Init.CounterMode = TIM_COUNTERMODE_DOWN;
    htim3.Init.Period = TIM3_default_Period;
    htim3.Init.ClockDivision = TIM_CLOCKDIVISION_DIV1;
    if (HAL_TIM_Base_Init(&htim3) != HAL_OK) {
        Error_Handler();
    }
    sClockSourceConfig.ClockSource = TIM_CLOCKSOURCE_INTERNAL;
    if (HAL_TIM_ConfigClockSource(&htim3, &sClockSourceConfig) != HAL_OK) {
        Error_Handler();
    }
    if (HAL_TIM_PWM_Init(&htim3) != HAL_OK) {
        Error_Handler();
    }
    sMasterConfig.MasterOutputTrigger = TIM_TRGO_RESET;
    sMasterConfig.MasterSlaveMode = TIM_MASTERSLAVEMODE_DISABLE;
    if (HAL_TIMEx_MasterConfigSynchronization(&htim3, &sMasterConfig) != HAL_OK) {
        Error_Handler();
    }
    sConfigOC.OCMode = TIM_OCMODE_PWM1;
    sConfigOC.Pulse = 21000;
    sConfigOC.OCPolarity = TIM_OCPOLARITY_HIGH;
    sConfigOC.OCFastMode = TIM_OCFAST_DISABLE;
    if (HAL_TIM_PWM_ConfigChannel(&htim3, &sConfigOC, TIM_CHANNEL_3) != HAL_OK) {
        Error_Handler();
    }
    if (HAL_TIM_PWM_ConfigChannel(&htim3, &sConfigOC, TIM_CHANNEL_4) != HAL_OK) {
        Error_Handler();
    }
    /* USER CODE BEGIN TIM3_Init 2 */
    //HAL_TIM_PWM_Start(&htim3,TIM_CHANNEL_3);
    //HAL_TIM_PWM_Start(&htim3,TIM_CHANNEL_4);
    /* USER CODE END TIM3_Init 2 */
    HAL_TIM_MspPostInit(&htim3);
}

static void MX_TIM14_Init(void)
{

    htim14.Instance = TIM14;
    htim14.Init.Prescaler = 84;
    htim14.Init.CounterMode = TIM_COUNTERMODE_UP;
    htim14.Init.Period = 1000;
    htim14.Init.ClockDivision = TIM_CLOCKDIVISION_DIV1;
    if (HAL_TIM_Base_Init(&htim14) != HAL_OK) {
        Error_Handler();
    }
    /* USER CODE BEGIN TIM14_Init 2 */
    HAL_TIM_Base_Start_IT(&htim14);
    /* USER CODE END TIM14_Init 2 */
}

static void MX_USART1_UART_Init(void)
{

    huart1.Instance = USART1;
    huart1.Init.BaudRate = 115200;
    huart1.Init.WordLength = UART_WORDLENGTH_8B;
    huart1.Init.StopBits = UART_STOPBITS_1;
    huart1.Init.Parity = UART_PARITY_NONE;
    huart1.Init.Mode = UART_MODE_TX_RX;
    huart1.Init.HwFlowCtl = UART_HWCONTROL_NONE;
    huart1.Init.OverSampling = UART_OVERSAMPLING_16;
    if (HAL_UART_Init(&huart1) != HAL_OK) {
        Error_Handler();
    }
}

static void MX_USART2_UART_Init(void)
{

    huart2.Instance = USART2;
    huart2.Init.BaudRate = 115200;
    huart2.Init.WordLength = UART_WORDLENGTH_8B;
    huart2.Init.StopBits = UART_STOPBITS_1;
    huart2.Init.Parity = UART_PARITY_NONE;
    huart2.Init.Mode = UART_MODE_TX_RX;
    huart2.Init.HwFlowCtl = UART_HWCONTROL_NONE;
    huart2.Init.OverSampling = UART_OVERSAMPLING_16;
    if (HAL_UART_Init(&huart2) != HAL_OK) {
        Error_Handler();
    }
}

static void MX_USART6_UART_Init(void)
{

    huart6.Instance = USART6;
    huart6.Init.BaudRate = 115200;
    huart6.Init.WordLength = UART_WORDLENGTH_8B;
    huart6.Init.StopBits = UART_STOPBITS_1;
    huart6.Init.Parity = UART_PARITY_NONE;
    huart6.Init.Mode = UART_MODE_TX_RX;
    huart6.Init.HwFlowCtl = UART_HWCONTROL_NONE;
    huart6.Init.OverSampling = UART_OVERSAMPLING_16;
    if (HAL_UART_Init(&huart6) != HAL_OK) {
        Error_Handler();
    }
}

static void MX_DMA_Init(void)
{
    /* DMA controller clock enable */
    __HAL_RCC_DMA1_CLK_ENABLE();
    __HAL_RCC_DMA2_CLK_ENABLE();

    /* DMA interrupt init */
    /* DMA1_Stream4_IRQn interrupt configuration */
    HAL_NVIC_SetPriority(DMA1_Stream4_IRQn, 5, 0);
    HAL_NVIC_EnableIRQ(DMA1_Stream4_IRQn);
    /* DMA1_Stream5_IRQn interrupt configuration */
    HAL_NVIC_SetPriority(DMA1_Stream5_IRQn, 5, 0);
    HAL_NVIC_EnableIRQ(DMA1_Stream5_IRQn);
    /* DMA2_Stream1_IRQn interrupt configuration */
    HAL_NVIC_SetPriority(DMA2_Stream1_IRQn, 5, 0);
    HAL_NVIC_EnableIRQ(DMA2_Stream1_IRQn);
}

static void MX_GPIO_Init(void)
{
    GPIO_InitTypeDef GPIO_InitStruct = { 0 };

    /* GPIO Ports Clock Enable */
    __HAL_RCC_GPIOE_CLK_ENABLE();
    __HAL_RCC_GPIOC_CLK_ENABLE();
    __HAL_RCC_GPIOH_CLK_ENABLE();
    __HAL_RCC_GPIOA_CLK_ENABLE();
    __HAL_RCC_GPIOB_CLK_ENABLE();
    __HAL_RCC_GPIOD_CLK_ENABLE();

    /*Configure GPIO pin Output Level */
    HAL_GPIO_WritePin(USB_EN_GPIO_Port, USB_EN_Pin, GPIO_PIN_RESET);

    /*Configure GPIO pin Output Level */
    HAL_GPIO_WritePin(GPIOC, ESP_RST_Pin | LCD_RST_Pin | LCD_CS_Pin, GPIO_PIN_RESET);

    /*Configure GPIO pin Output Level */
    HAL_GPIO_WritePin(GPIOD, E_DIR_Pin | E_STEP_Pin | E_ENA_Pin | LCD_RS_Pin | Y_DIR_Pin | Y_STEP_Pin | Y_ENA_Pin | Z_DIR_Pin | X_DIR_Pin | X_STEP_Pin | Z_ENA_Pin | X_ENA_Pin | Z_STEP_Pin | FLASH_CSN_Pin, GPIO_PIN_RESET);

    /*Configure GPIO pins : X_DIAG_Pin Z_DIAG_Pin USB_OVERC_Pin ESP_GPIO0_Pin
                           BED_MON_Pin WP1_Pin Z_DIAGE1_Pin */
    GPIO_InitStruct.Pin = X_DIAG_Pin | Z_DIAG_Pin | USB_OVERC_Pin | ESP_GPIO0_Pin
        | BED_MON_Pin | WP1_Pin | Z_DIAGE1_Pin;
    GPIO_InitStruct.Mode = GPIO_MODE_INPUT;
    GPIO_InitStruct.Pull = GPIO_NOPULL;
    HAL_GPIO_Init(GPIOE, &GPIO_InitStruct);

    /*Configure GPIO pin : USB_EN_Pin */
    GPIO_InitStruct.Pin = USB_EN_Pin;
    GPIO_InitStruct.Mode = GPIO_MODE_OUTPUT_PP;
    GPIO_InitStruct.Pull = GPIO_NOPULL;
    GPIO_InitStruct.Speed = GPIO_SPEED_FREQ_LOW;
    HAL_GPIO_Init(USB_EN_GPIO_Port, &GPIO_InitStruct);

    /*Configure GPIO pins : ESP_RST_Pin LCD_RST_Pin LCD_CS_Pin */
    GPIO_InitStruct.Pin = ESP_RST_Pin | LCD_RST_Pin | LCD_CS_Pin;
    GPIO_InitStruct.Mode = GPIO_MODE_OUTPUT_PP;
    GPIO_InitStruct.Pull = GPIO_NOPULL;
    GPIO_InitStruct.Speed = GPIO_SPEED_FREQ_LOW;
    HAL_GPIO_Init(GPIOC, &GPIO_InitStruct);

    /*Configure GPIO pins : FAN0_TACH_Pin FAN1_TACH_Pin */
    GPIO_InitStruct.Pin = FAN0_TACH_Pin | FAN1_TACH_Pin;
    GPIO_InitStruct.Mode = GPIO_MODE_IT_RISING;
    GPIO_InitStruct.Pull = GPIO_NOPULL;
    HAL_GPIO_Init(GPIOE, &GPIO_InitStruct);

    /*Configure GPIO pins : LCD_SW1_Pin LCD_SW3_Pin LCD_SW2_Pin */
    GPIO_InitStruct.Pin = LCD_SW1_Pin | LCD_SW3_Pin | LCD_SW2_Pin;
    GPIO_InitStruct.Mode = GPIO_MODE_INPUT;
    GPIO_InitStruct.Pull = GPIO_PULLUP;
    HAL_GPIO_Init(GPIOE, &GPIO_InitStruct);

    /*Configure GPIO pins : E_DIR_Pin E_STEP_Pin E_ENA_Pin LCD_RS_Pin
                           Y_DIR_Pin Y_STEP_Pin Y_ENA_Pin Z_DIR_Pin
                           X_DIR_Pin X_STEP_Pin Z_ENA_Pin X_ENA_Pin
                           Z_STEP_Pin FLASH_CSN_Pin */
    GPIO_InitStruct.Pin = E_DIR_Pin | E_STEP_Pin | E_ENA_Pin | LCD_RS_Pin
        | Y_DIR_Pin | Y_STEP_Pin | Y_ENA_Pin | Z_DIR_Pin
        | X_DIR_Pin | X_STEP_Pin | Z_ENA_Pin | X_ENA_Pin
        | Z_STEP_Pin | FLASH_CSN_Pin;
    GPIO_InitStruct.Mode = GPIO_MODE_OUTPUT_PP;
    GPIO_InitStruct.Pull = GPIO_NOPULL;
    GPIO_InitStruct.Speed = GPIO_SPEED_FREQ_LOW;
    HAL_GPIO_Init(GPIOD, &GPIO_InitStruct);

    /*Configure GPIO pin : Z_MIN_Pin */
    GPIO_InitStruct.Pin = Z_MIN_Pin;
    GPIO_InitStruct.Mode = GPIO_MODE_INPUT;
    GPIO_InitStruct.Pull = GPIO_PULLUP;
    HAL_GPIO_Init(Z_MIN_GPIO_Port, &GPIO_InitStruct);

    /*Configure GPIO pin : E_DIAG_Pin */
    GPIO_InitStruct.Pin = E_DIAG_Pin;
    GPIO_InitStruct.Mode = GPIO_MODE_INPUT;
    GPIO_InitStruct.Pull = GPIO_NOPULL;
    HAL_GPIO_Init(E_DIAG_GPIO_Port, &GPIO_InitStruct);

    /*Configure GPIO pins : FIL_SENSOR_Pin WP2_Pin */
    GPIO_InitStruct.Pin = FIL_SENSOR_Pin | WP2_Pin;
    GPIO_InitStruct.Mode = GPIO_MODE_INPUT;
    GPIO_InitStruct.Pull = GPIO_NOPULL;
    HAL_GPIO_Init(GPIOB, &GPIO_InitStruct);

    /* EXTI interrupt init*/
    HAL_NVIC_SetPriority(EXTI15_10_IRQn, 5, 0);
    HAL_NVIC_EnableIRQ(EXTI15_10_IRQn);
}

/* USER CODE BEGIN 4 */
extern void st7789v_spi_tx_complete(void);
void HAL_SPI_TxCpltCallback(SPI_HandleTypeDef* hspi)
{
    st7789v_spi_tx_complete();
}

void HAL_UART_RxHalfCpltCallback(UART_HandleTypeDef* huart)
{
    if (huart == &huart6)
        uartrxbuff_rxhalf_cb(&uart6rxbuff);
}

void HAL_UART_RxCpltCallback(UART_HandleTypeDef* huart)
{
    if (huart == &huart2)
        osSignalSet(defaultTaskHandle, 0x04);
    else if (huart == &huart6)
        uartrxbuff_rxcplt_cb(&uart6rxbuff);
}

void HAL_GPIO_EXTI_Callback(uint16_t GPIO_Pin)
{
    switch (GPIO_Pin) {
    case GPIO_PIN_10:
        Tacho_FAN0++;
        break;
    case GPIO_PIN_14:
        Tacho_FAN1++;
        break;
    }
}

/* USER CODE END 4 */

void StartDefaultTask(void const* argument)
{
    /* init code for USB_DEVICE */
    MX_USB_DEVICE_Init();

    /* init code for USB_HOST */
    MX_USB_HOST_Init();

    /* init code for FATFS */
    MX_FATFS_Init();

    /* USER CODE BEGIN 5 */
    app_run();
    /* Infinite loop */
    for (;;) {
        osDelay(1);
    }
    /* USER CODE END 5 */
}

void StartDisplayTask(void const* argument)
{
    /* USER CODE BEGIN StartDisplayTask */
    gui_run();
    /* Infinite loop */
    for (;;) {
        osDelay(1);
    }
    /* USER CODE END StartDisplayTask */
}

void StartIdleTask(void const* argument)
{
    for (;;) {
        osDelay(1);
    }
}

void HAL_TIM_PeriodElapsedCallback(TIM_HandleTypeDef* htim)
{
    /* USER CODE BEGIN Callback 0 */

    if (htim->Instance == TIM6) {
        HAL_IncTick();
        app_tim6_tick();
    }
#if 0 // trick to disable following code generated by Cube
  /* USER CODE END Callback 0 */
  if (htim->Instance == TIM6) {
	HAL_IncTick();
  }
  /* USER CODE BEGIN Callback 1 */
#endif
    else if (htim->Instance == TIM14) {
        app_tim14_tick();
    }
    /* USER CODE END Callback 1 */
}

void Error_Handler(void)
{
    /* USER CODE BEGIN Error_Handler_Debug */
    /* User can add his own implementation to report the HAL error return state */
    app_error();
    /* USER CODE END Error_Handler_Debug */
}

#ifdef USE_FULL_ASSERT
/**
  * @brief  Reports the name of the source file and the source line number
  *         where the assert_param error has occurred.
  * @param  file: pointer to the source file name
  * @param  line: assert_param error line source number
  * @retval None
  */
void assert_failed(uint8_t* file, uint32_t line)
{
    /* USER CODE BEGIN 6 */
    /* User can add his own implementation to report the file name and line number,
     tex: printf("Wrong parameters value: file %s on line %d\r\n", file, line) */
    app_assert(file, line);
    /* USER CODE END 6 */
}
#endif /* USE_FULL_ASSERT */

/************************ (C) COPYRIGHT STMicroelectronics *****END OF FILE****/
